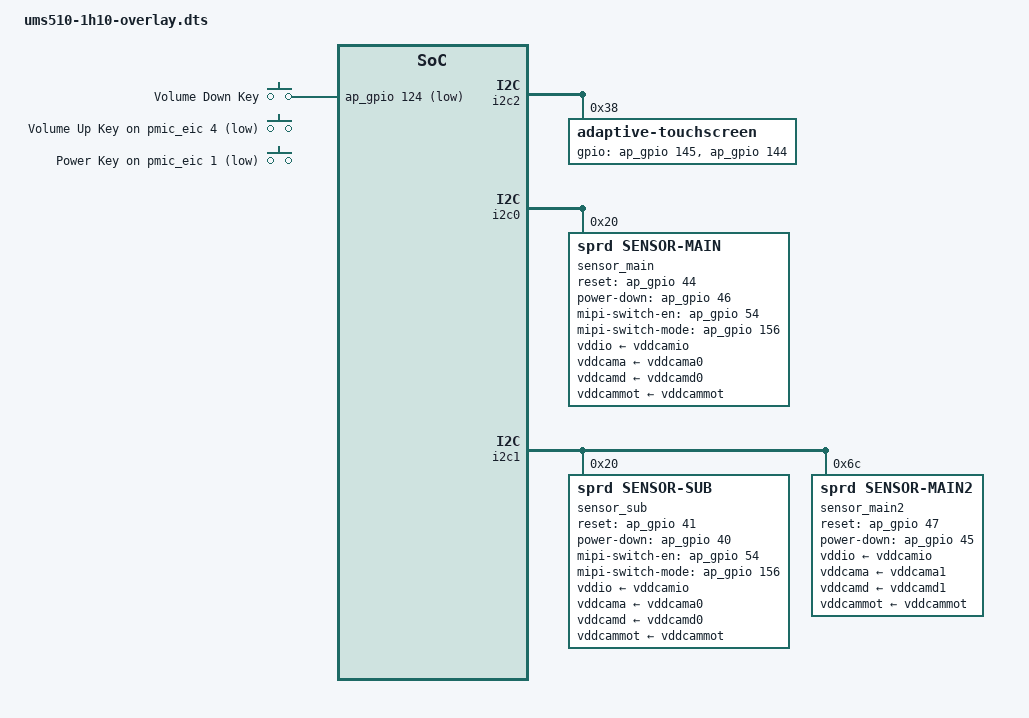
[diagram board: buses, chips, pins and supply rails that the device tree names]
/dts-v1/;
/plugin/;

#include <dt-bindings/input/input.h>
#include <dt-bindings/gpio/gpio.h>
#include "ums510.dtsi"

/ {
	fragment {
		target-path = "/";
		__overlay__ {
			gpio-keys {
				compatible = "gpio-keys";

				key-volumedown {
					label = "Volume Down Key";
					linux,code = <KEY_VOLUMEDOWN>;
					gpios = <&ap_gpio 124 GPIO_ACTIVE_LOW>;
					debounce-interval = <2>;
					wakeup-source;
				};

				key-volumeup {
					label = "Volume Up Key";
					linux,code = <KEY_VOLUMEUP>;
					gpios = <&pmic_eic 4 GPIO_ACTIVE_LOW>;
					debounce-interval = <2>;
					wakeup-source;
				};

				key-power {
					label = "Power Key";
					linux,code = <KEY_POWER>;
					gpios = <&pmic_eic 1 GPIO_ACTIVE_LOW>;
					debounce-interval = <2>;
					wakeup-source;
				};
			};
		};
	};
};


&i2c2 {
	status = "okay";

	adaptive-touchscreen@38 {
		compatible = "adaptive-touchscreen";
		reg = <0x38>;
		gpios = <&ap_gpio 145 GPIO_ACTIVE_HIGH
			&ap_gpio 144 GPIO_ACTIVE_HIGH>;
		controller = "focaltech,FT5436";
		virtualkeys = <580 60 1320 60 45
				172 360 1320 60 45
				158 600 1320 60 45>;
		private-data {
			a8 = /bits/ 8 <0x5a>;
		};
	};
};

&i2c0 {
	status = "okay";

	sensor_main: sensor-main@20 {
		compatible = "sprd,sensor-main";
		reg = <0x20>;

		clock-names = "clk_src","sensor_eb",
			"clk_96m","clk_76m8",
			"clk_48m","clk_26m";
		clocks = <&mm_clk CLK_SENSOR0>,<&mm_gate CLK_MM_SENSOR0_EB>,
			<&mm_clk CLK_TWPLL_96M>,<&mm_clk CLK_TWPLL_76M8>,
			<&mm_clk CLK_TWPLL_48M>,<&ext_26m>;
		vddio-supply = <&vddcamio>;
		vddcama-supply = <&vddcama0>;
		vddcamd-supply = <&vddcamd0>;
		vddcammot-supply = <&vddcammot>;
		sprd,phyid = <0>;
		csi = <&csi0>;
		reset-gpios = <&ap_gpio 44 0>;
		power-down-gpios = <&ap_gpio 46 0>;
		mipi-switch-en-gpios = <&ap_gpio 54 0>;
		/* 0:front, 1:main sensor */
		mipi-switch-mode-gpios = <&ap_gpio 156 0>;

		status = "okay";
	};
};

&i2c1 {
	status = "okay";

	sensor_sub: sensor-sub@20 {
		compatible = "sprd,sensor-sub";
		reg = <0x20>;

		clock-names = "clk_src","sensor_eb",
			"clk_96m","clk_76m8",
			"clk_48m","clk_26m";
		clocks = <&mm_clk CLK_SENSOR1>,<&mm_gate CLK_MM_SENSOR1_EB>,
			<&mm_clk CLK_TWPLL_96M>,<&mm_clk CLK_TWPLL_76M8>,
			<&mm_clk CLK_TWPLL_48M>,<&ext_26m>;
		vddio-supply = <&vddcamio>;
		vddcama-supply = <&vddcama0>;
		vddcamd-supply = <&vddcamd0>;
		vddcammot-supply = <&vddcammot>;
		sprd,phyid = <0>;
		csi = <&csi0>;
		reset-gpios = <&ap_gpio 41 0>;
		power-down-gpios = <&ap_gpio 40 0>;
		mipi-switch-en-gpios = <&ap_gpio 54 0>;
		/* 0:front, 1:main sensor */
		mipi-switch-mode-gpios = <&ap_gpio 156 0>;

		status = "okay";
	};

	sensor_main2: sensor-main2@6c {
		compatible = "sprd,sensor-main2";
		reg = <0x6c>;

		clock-names = "clk_src","sensor_eb",
			"clk_96m","clk_76m8",
			"clk_48m","clk_26m";
		clocks = <&mm_clk CLK_SENSOR1>,<&mm_gate CLK_MM_SENSOR1_EB>,
			<&mm_clk CLK_TWPLL_96M>,<&mm_clk CLK_TWPLL_76M8>,
			<&mm_clk CLK_TWPLL_48M>,<&ext_26m>;
		vddio-supply = <&vddcamio>;
		vddcama-supply = <&vddcama1>;
		vddcamd-supply = <&vddcamd1>;
		vddcammot-supply = <&vddcammot>;
		sprd,phyid = <3>;
		csi = <&csi1>;
		reset-gpios = <&ap_gpio 47 0>;
		power-down-gpios = <&ap_gpio 45 0>;

		status = "okay";
	};
};
